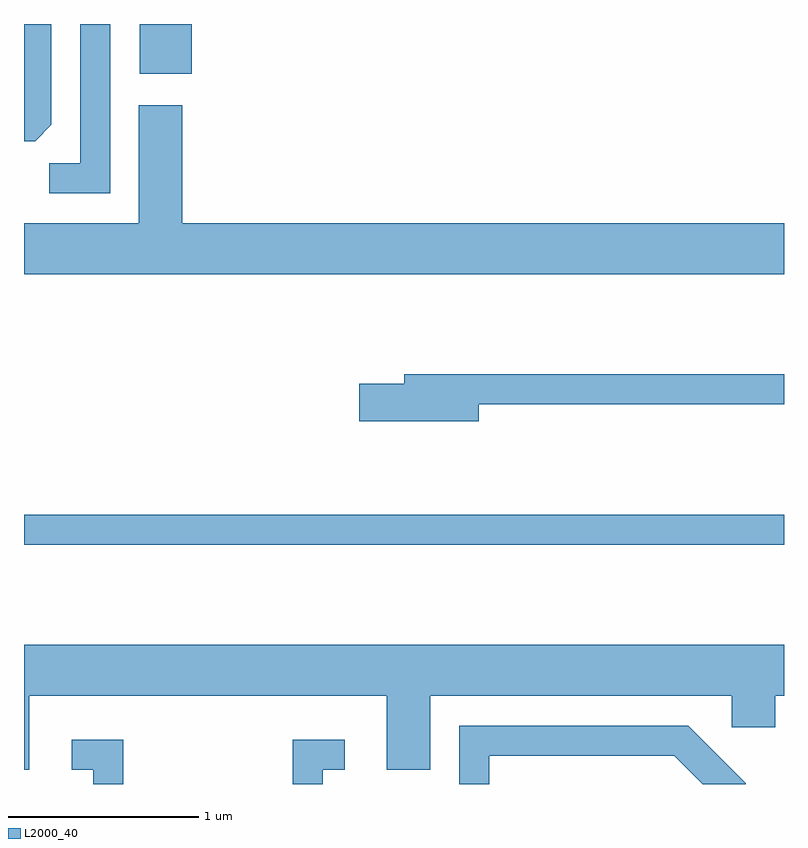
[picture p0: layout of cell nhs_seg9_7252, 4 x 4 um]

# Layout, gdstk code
import gdstk
lib = gdstk.Library(unit=1e-6, precision=1e-09)
def R(c, l, rs):  # rectangles x0, y0, x1, y1
    for r in rs: c.add(gdstk.rectangle(r[:2], r[2:], *l))
def P(c, l, *ps):  # polygons
    for p in ps: c.add(gdstk.Polygon(p, *l))
L2000_40 = (2000, 40)

nhs_seg9_7252 = lib.new_cell('nhs_seg9_7252')
R(nhs_seg9_7252, L2000_40, [(399.611,2023.691,403.611,2023.849), (400.221,2026.171,400.494,2026.432)])
P(nhs_seg9_7252, L2000_40, [(399.754,2025.902),(399.754,2026.432),(399.611,2026.432),(399.611,2025.816),(399.669,2025.816)],
  [(400.064,2026.432),(399.906,2026.432),(399.906,2025.699),(399.743,2025.699),(399.743,2025.541),(400.064,2025.541)],
  [(403.611,2025.384),(400.444,2025.384),(400.444,2026.004),(400.216,2026.004),(400.216,2025.384),(399.611,2025.384),(399.611,2025.116),(403.611,2025.116)],
  [(402.004,2024.431),(403.611,2024.431),(403.611,2024.589),(401.611,2024.589),(401.611,2024.539),(401.376,2024.539),(401.376,2024.341),(402.004,2024.341)],
  [(399.639,2022.896),(401.521,2022.896),(401.521,2022.506),(401.749,2022.506),(401.749,2022.896),(403.336,2022.896),(403.336,2022.731),(403.564,2022.731),(403.564,2022.896),(403.611,2022.896),(403.611,2023.164),(399.611,2023.164),(399.611,2022.506),(399.639,2022.506)],
  [(402.059,2022.581),(403.034,2022.581),(403.183,2022.432),(403.409,2022.432),(403.409,2022.437),(403.107,2022.739),(401.901,2022.739),(401.901,2022.432),(402.059,2022.432)],
  [(401.184,2022.506),(401.298,2022.506),(401.298,2022.664),(401.026,2022.664),(401.026,2022.432),(401.184,2022.432)],
  [(400.134,2022.664),(399.863,2022.664),(399.863,2022.506),(399.976,2022.506),(399.976,2022.432),(400.134,2022.432)])

lib.write_gds('nhs_seg9_7252.gds')
